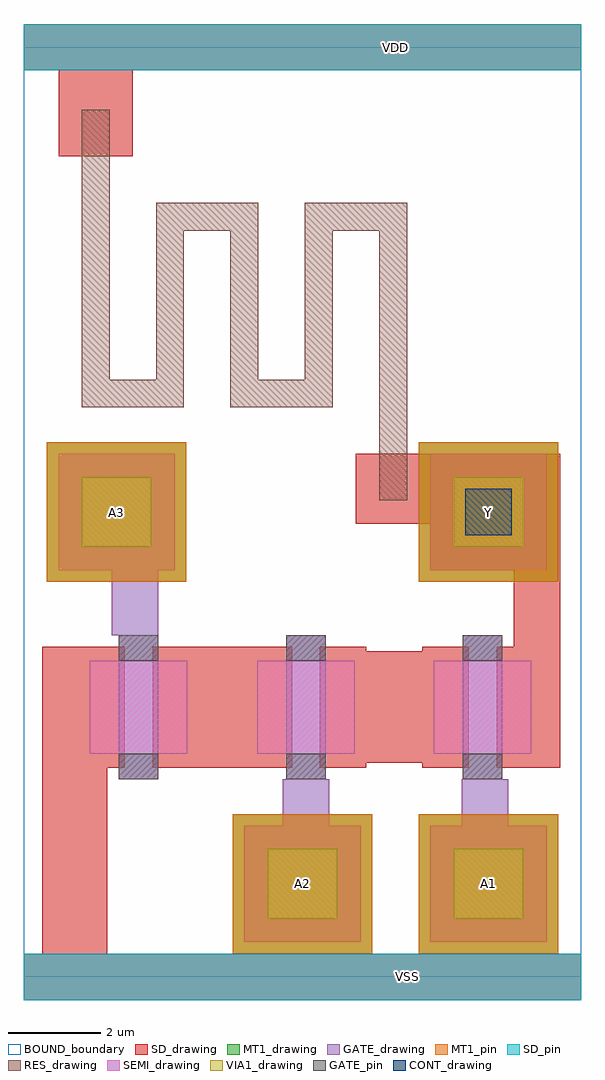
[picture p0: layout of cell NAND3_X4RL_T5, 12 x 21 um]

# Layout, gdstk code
from math import pi, radians
import gdstk
lib = gdstk.Library(unit=1e-6, precision=1e-09)
def R(c, l, rs):  # rectangles x0, y0, x1, y1
    for r in rs: c.add(gdstk.rectangle(r[:2], r[2:], *l))
def A(c, l, x, y, w, h, nx, ny, dx, dy):  # array of equal rectangles
    R(c, l, [(x+i*dx, y+j*dy, x+i*dx+w, y+j*dy+h) for i in range(nx) for j in range(ny)])
def P(c, l, *ps):  # polygons
    for p in ps: c.add(gdstk.Polygon(p, *l))
RES_drawing = (1, 0)
SEMI_drawing = (3, 0)
SD_drawing = (10, 0)
SD_pin = (10, 3)
GATE_drawing = (11, 0)
GATE_pin = (11, 3)
MT1_drawing = (20, 0)
MT1_pin = (20, 3)
CONT_drawing = (30, 0)
VIA1_drawing = (41, 0)
BOUND_boundary = (150, 5)

nch_cdns_772545039410 = lib.new_cell('nch_CDNS_772545039410')
R(nch_cdns_772545039410, SEMI_drawing, [(-1.05,-1,1.05,1)])
R(nch_cdns_772545039410, SD_drawing, [(-1.3,-1.3,-0.3,1.3), (0.3,-1.3,1.3,1.3)])
R(nch_cdns_772545039410, GATE_drawing, [(-0.425,-1.55,0.425,1.55)])
R(nch_cdns_772545039410, GATE_pin, [(-0.425,-1.55,0.425,-1), (-0.425,1,0.425,1.55)])

nch_cdns_772545039411 = lib.new_cell('nch_CDNS_772545039411')
R(nch_cdns_772545039411, SEMI_drawing, [(-1.05,-1,1.05,1)])
R(nch_cdns_772545039411, SD_drawing, [(-1.3,-1.3,-0.3,1.3), (0.3,-1.3,1.3,1.3)])
R(nch_cdns_772545039411, GATE_drawing, [(-0.425,-1.55,0.425,1.55)])
R(nch_cdns_772545039411, GATE_pin, [(-0.425,-1.55,0.425,-1), (-0.425,1,0.425,1.55)])

res_cdns_772545039412 = lib.new_cell('res_CDNS_772545039412')
A(res_cdns_772545039412, RES_drawing, -3.5, -2.2, 0.6, 4.4, 5, 1, 1.6, 0)
R(res_cdns_772545039412, RES_drawing, [(2.9,-4.2,3.5,-2.2), (-2.9,-2.2,-1.9,-1.6), (0.3,-2.2,1.3,-1.6), (-1.3,1.6,-0.3,2.2), (1.9,1.6,2.9,2.2), (-3.5,2.2,-2.9,4.2)])
R(res_cdns_772545039412, SD_drawing, [(2.4,-4.7,4,-3.2), (-4,3.2,-2.4,4.7)])

gate_mt1_cdns_7725450394 = lib.new_cell('GATE_MT1_CDNS_772545039410')
R(gate_mt1_cdns_7725450394, GATE_drawing, [(-1.25,-1.25,1.25,1.25)])
R(gate_mt1_cdns_7725450394, MT1_drawing, [(-1.25,-1.25,1.25,1.25)])
R(gate_mt1_cdns_7725450394, VIA1_drawing, [(-0.75,-0.75,0.75,0.75)])

sd_gate_cdns_77254503941 = lib.new_cell('SD_GATE_CDNS_772545039411')
R(sd_gate_cdns_77254503941, SD_drawing, [(-1,-1,1,1)])
R(sd_gate_cdns_77254503941, GATE_drawing, [(-1,-1,1,1)])
R(sd_gate_cdns_77254503941, CONT_drawing, [(-0.5,-0.5,0.5,0.5)])

nand3_x4rl_t5 = lib.new_cell('NAND3_X4RL_T5')
R(nand3_x4rl_t5, SD_drawing, [(3.75,4.5,4.8,7.1), (7.375,4.6,8.575,7), (8.75,8.75,11.25,11.25), (0.75,19.15,2.35,19.5)])
R(nand3_x4rl_t5, SD_pin, [(0,-0.5,12,0.5), (0,19.5,12,20.5)])
P(nand3_x4rl_t5, GATE_drawing, [(2.9,7.45),(1.9,7.45),(1.9,7.35),(2.1,7.35),(2.1,7.3),(2.85,7.3),(2.85,7.35),(2.9,7.35)],
  [(9.425,4.15),(10.425,4.15),(10.425,4.25),(10.25,4.25),(10.25,4.3),(9.5,4.3),(9.5,4.25),(9.425,4.25)],
  [(5.575,4.15),(6.575,4.15),(6.575,4.25),(6.45,4.25),(6.45,4.3),(5.7,4.3),(5.7,4.25),(5.575,4.25)])
R(nand3_x4rl_t5, MT1_drawing, [(4.5,0.5,7.5,3.5), (8.5,0.5,11.5,3.5), (0.5,8.5,3.5,11.5), (8.5,8.5,11.5,11.5)])
R(nand3_x4rl_t5, MT1_pin, [(4.5,0.5,7.5,3.5), (8.5,0.5,11.5,3.5), (0.5,8.5,3.5,11.5), (8.5,8.5,11.5,11.5)])
R(nand3_x4rl_t5, BOUND_boundary, [(0,0,12,20)])
nand3_x4rl_t5.add(gdstk.FlexPath([(11.05,4.5),(11.05,11.25)], 1, ends="flush", simple_path=True, layer=10, datatype=0))  # SD_drawing
nand3_x4rl_t5.add(gdstk.FlexPath([(1.1,7.1),(1.1,0.5)], 1.4, ends="flush", simple_path=True, layer=10, datatype=0))  # SD_drawing
nand3_x4rl_t5.add(gdstk.FlexPath([(12,0),(0,0)], 1, ends="flush", simple_path=True, layer=10, datatype=0))  # SD_drawing
nand3_x4rl_t5.add(gdstk.FlexPath([(12,20),(0,20)], 1, ends="flush", simple_path=True, layer=10, datatype=0))  # SD_drawing
nand3_x4rl_t5.add(gdstk.FlexPath([(9.925,1.85),(10.025,1.85)], 1, ends=(0.5, 0), simple_path=True, layer=11, datatype=0))  # GATE_drawing
nand3_x4rl_t5.add(gdstk.FlexPath([(6.075,2.85),(6.075,4.15)], 1, ends="flush", simple_path=True, layer=11, datatype=0))  # GATE_drawing
nand3_x4rl_t5.add(gdstk.FlexPath([(2.4,7.45),(2.4,8.75)], 1, ends="flush", simple_path=True, layer=11, datatype=0))  # GATE_drawing
nand3_x4rl_t5.add(gdstk.FlexPath([(9.925,4.15),(9.925,1.85)], 1, ends=(0, 0.5), simple_path=True, layer=11, datatype=0))  # GATE_drawing
nand3_x4rl_t5.add(gdstk.Reference(nch_cdns_772545039410, (2.475,5.8), rotation=pi, x_reflection=True))
nand3_x4rl_t5.add(gdstk.Reference(nch_cdns_772545039410, (6.075,5.8)))
nand3_x4rl_t5.add(gdstk.Reference(nch_cdns_772545039411, (9.875,5.8)))
nand3_x4rl_t5.add(gdstk.Reference(res_cdns_772545039412, (4.75,14.45)))
nand3_x4rl_t5.add(gdstk.Reference(gate_mt1_cdns_7725450394, (10,2), rotation=pi, x_reflection=True))
nand3_x4rl_t5.add(gdstk.Reference(gate_mt1_cdns_7725450394, (6,2), rotation=pi, x_reflection=True))
nand3_x4rl_t5.add(gdstk.Reference(gate_mt1_cdns_7725450394, (2,10), rotation=pi, x_reflection=True))
nand3_x4rl_t5.add(gdstk.Reference(gate_mt1_cdns_7725450394, (10,10), rotation=pi, x_reflection=True))
nand3_x4rl_t5.add(gdstk.Reference(sd_gate_cdns_77254503941, (10,10), rotation=pi, x_reflection=True))
nand3_x4rl_t5.add(gdstk.Label('VSS', (8.25,0), layer=10, texttype=3))
nand3_x4rl_t5.add(gdstk.Label('VDD', (8,20), layer=10, texttype=3))
nand3_x4rl_t5.add(gdstk.Label('Y', (10,10), layer=20, texttype=3))
nand3_x4rl_t5.add(gdstk.Label('A1', (10,2), layer=20, texttype=3))
nand3_x4rl_t5.add(gdstk.Label('A3', (2,10), layer=20, texttype=3))
nand3_x4rl_t5.add(gdstk.Label('A2', (6,2), layer=20, texttype=3))

lib.write_gds('NAND3_X4RL_T5.gds')
